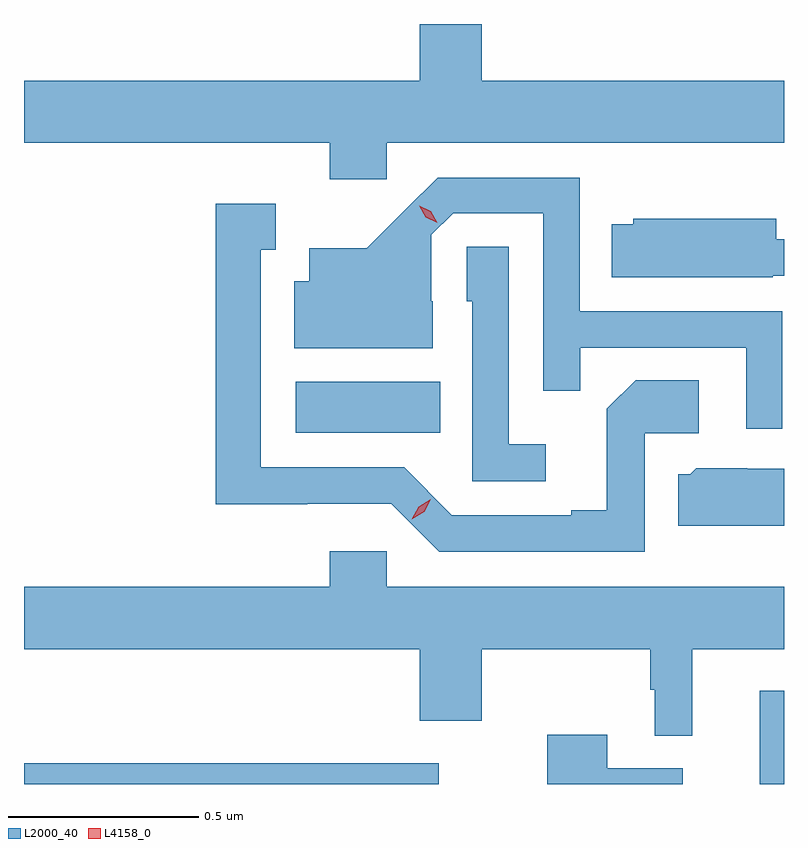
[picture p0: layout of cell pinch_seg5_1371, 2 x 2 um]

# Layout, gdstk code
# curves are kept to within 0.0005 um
import gdstk
lib = gdstk.Library(unit=1e-6, precision=1e-09)
def R(c, l, rs):  # rectangles x0, y0, x1, y1
    for r in rs: c.add(gdstk.rectangle(r[:2], r[2:], *l))
def P(c, l, *ps):  # polygons
    for p in ps: c.add(gdstk.Polygon(p, *l))
L2000_40 = (2000, 40)
L4158_0 = (4158, 0)

pinch_seg5_1371 = lib.new_cell('pinch_seg5_1371')
R(pinch_seg5_1371, L2000_40, [(307.823,877.717,308.914,877.771), (309.759,877.717,309.823,877.963), (308.538,878.642,308.918,878.776)])
P(pinch_seg5_1371, L2000_40, [(308.778,879.404),(309.823,879.404),(309.823,879.568),(309.028,879.568),(309.028,879.717),(308.864,879.717),(308.864,879.568),(307.823,879.568),(307.823,879.404),(308.627,879.404),(308.627,879.309),(308.778,879.309)],
  [(309.819,878.961),(309.285,878.961),(309.285,879.312),(308.912,879.312),(308.725,879.127),(308.573,879.127),(308.573,879.04),(308.534,879.04),(308.534,878.864),(308.899,878.864),(308.899,878.988),(308.895,878.988),(308.895,879.162),(308.952,879.219),(309.189,879.219),(309.189,878.752),(309.287,878.752),(309.287,878.865),(309.723,878.865),(309.723,878.652),(309.819,878.652)],
  [(309.456,878.64),(309.598,878.64),(309.598,878.78),(309.433,878.78),(309.357,878.704),(309.357,878.437),(309.263,878.437),(309.263,878.424),(308.949,878.424),(308.823,878.55),(308.446,878.55),(308.446,879.123),(308.485,879.123),(308.485,879.244),(308.328,879.244),(308.328,878.453),(308.568,878.453),(308.568,878.454),(308.79,878.454),(308.916,878.328),(309.456,878.328)],
  [(309.794,879.054),(309.823,879.054),(309.823,879.151),(309.802,879.151),(309.802,879.205),(309.426,879.205),(309.426,879.19),(309.37,879.19),(309.37,879.05),(309.794,879.05)],
  [(309.196,878.611),(309.099,878.611),(309.099,879.131),(308.988,879.131),(308.988,878.988),(309.003,878.988),(309.003,878.514),(309.196,878.514)],
  [(309.823,878.547),(309.726,878.547),(309.726,878.548),(309.592,878.548),(309.576,878.532),(309.545,878.532),(309.545,878.396),(309.823,878.396)],
  [(309.581,878.072),(309.823,878.072),(309.823,878.236),(308.778,878.236),(308.778,878.329),(308.627,878.329),(308.627,878.236),(307.823,878.236),(307.823,878.072),(308.864,878.072),(308.864,877.884),(309.028,877.884),(309.028,878.072),(309.471,878.072),(309.471,877.965),(309.483,877.965),(309.483,877.844),(309.581,877.844)],
  [(309.556,877.759),(309.358,877.759),(309.358,877.846),(309.2,877.846),(309.2,877.717),(309.556,877.717)])
P(pinch_seg5_1371, L4158_0, [(308.91,879.194),(308.88,879.209),(308.863,879.239),(308.863,879.239),(308.863,879.239),(308.894,879.224),(308.91,879.194),(308.91,879.194)],
  [(308.844,878.414),(308.844,878.414),(308.862,878.447),(308.894,878.466),(308.894,878.466),(308.894,878.466),(308.876,878.433),(308.844,878.414)])

lib.write_gds('pinch_seg5_1371.gds')
